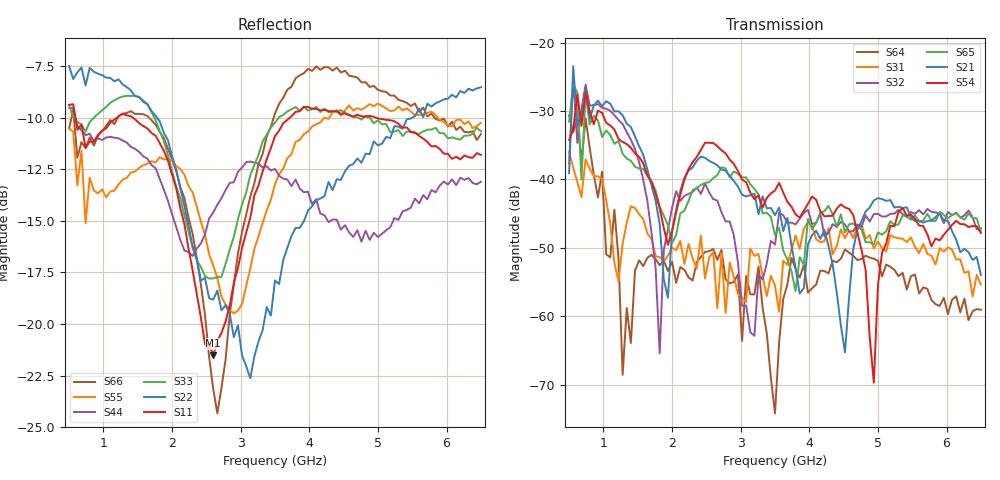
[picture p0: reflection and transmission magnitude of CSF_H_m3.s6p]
!Keysight Technologies,M9804A,MY58100912,A.14.10.03
!Date: Thursday, April 27, 2023 10:28:33
!Correction: S11(C  6-Port  )
!S12(C  6-Port  )
!S13(C  6-Port  )
!S14(C  6-Port  )
!S15(C  6-Port  )
!S16(C  6-Port  )
!S21(C  6-Port  )
!S22(C  6-Port  )
!S23(C  6-Port  )
!S24(C  6-Port  )
!S25(C  6-Port  )
!S26(C  6-Port  )
!S31(C  6-Port  )
!S32(C  6-Port  )
!S33(C  6-Port  )
!S34(C  6-Port  )
!S35(C  6-Port  )
!S36(C  6-Port  )
!S41(C  6-Port  )
!S42(C  6-Port  )
!S43(C  6-Port  )
!S44(C  6-Port  )
!S45(C  6-Port  )
!S46(C  6-Port  )
!S51(C  6-Port  )
!S52(C  6-Port  )
!S53(C  6-Port  )
!S54(C  6-Port  )
!S55(C  6-Port  )
!S56(C  6-Port  )
!S61(C  6-Port  )
!S62(C  6-Port  )
!S63(C  6-Port  )
!S64(C  6-Port  )
!S65(C  6-Port  )
!S66(C  6-Port  )
!S6P File: Measurement: :
# Hz S  RI  R 50
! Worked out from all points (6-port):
!   101 points, 500 MHz to 6.5 GHz, reference 50 ohm
!   strongest paths, dB at 500 MHz, 2 GHz, 3.5 GHz, 5 GHz, 6.5 GHz:
!     S54: -34.2, -47.6, -41.6, -55.5, -47.8
!     S21: -39.1, -47.5, -45.2, -42.7, -53.9
!     S65: -31.5, -49.3, -48.1, -47.7, -47.7
!     S32: -37.7, -44.2, -49.5, -45.0, -47.2
!     S31: -36.0, -50.0, -55.5, -49.1, -55.4
!     S64: -30.6, -52.0, -74.2, -51.9, -59.0
!   lowest |S11| = -21.5 dB at 2.6 GHz (marker M1), VSWR 1.18, Z = 42.5 + j2.14 ohm
!   |S11| at or under -10 dB: 591.8 MHz to 1.194 GHz (601.8 MHz wide, 67.4 % of centre); 1.432 GHz to 3.714 GHz (2.281 GHz wide, 88.7 % of centre); 4.979 GHz to end of sweep
